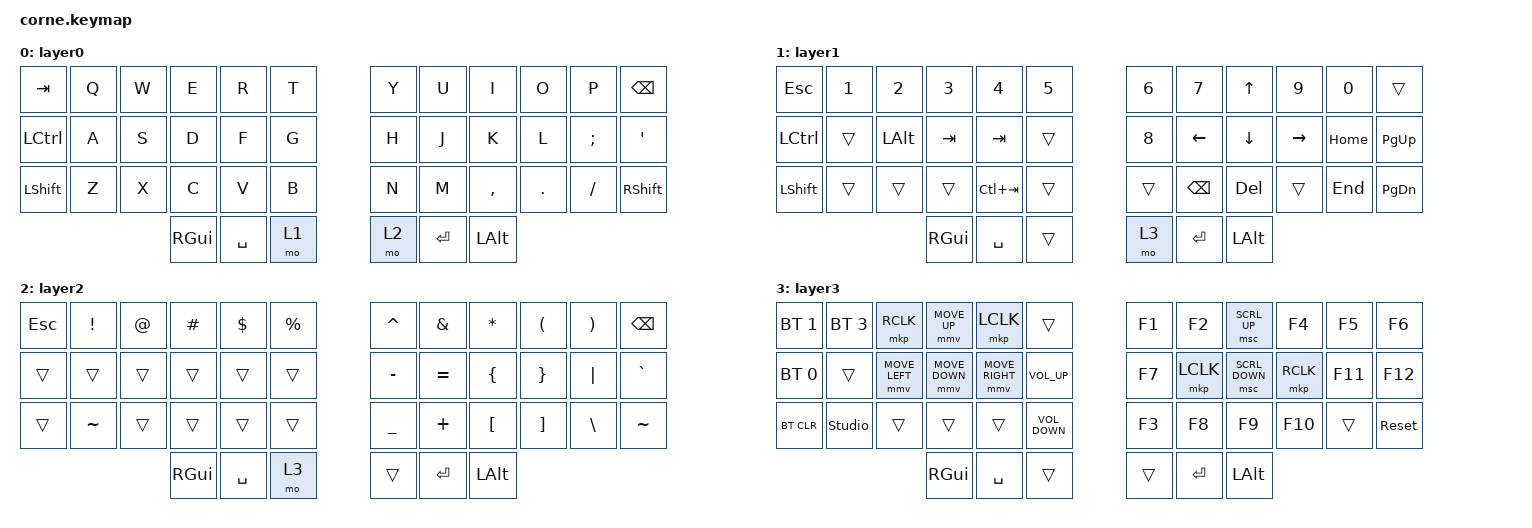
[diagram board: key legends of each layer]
/*
 * Copyright (c) 2020 The ZMK Contributors
 *
 * SPDX-License-Identifier: MIT
 */

#include <behaviors.dtsi>
#include <dt-bindings/zmk/keys.h>
#include <dt-bindings/zmk/bt.h>
#include <dt-bindings/zmk/ext_power.h>

#define ZMK_POINTING_DEFAULT_MOVE_VAL 1200
#define ZMK_POINTING_DEFAULT_SCRL_VAL 20
#include <dt-bindings/zmk/mouse.h>

/ {
    keymap {
        compatible = "zmk,keymap";

        layer0 {
// -----------------------------------------------------------------------------------------
// |  TAB  |  Q  |  W  |  E  |  R  |  T  |     |  Y  |  U  |  I  |  O  |  P  | BKSP | 
// | CTRL  |  A  |  S  |  D  |  F  |  G  |     |  H  |  J  |  K  |  L  |  ;  |  '   | 
// | SHFT  |  Z  |  X  |  C  |  V  |  B  |     |  N  |  M  |  ,  |  .  |  /  | SHFT | 
//                    | RGUI | SPC | MO1 |     | MO2 | ENT | LALT|
            bindings = <
                &kp TAB &kp Q &kp W &kp E &kp R &kp T &kp Y &kp U &kp I &kp O &kp P &kp BACKSPACE
                &kp LEFT_CONTROL &kp A &kp S &kp D &kp F &kp G &kp H &kp J &kp K &kp L &kp SEMICOLON &kp SINGLE_QUOTE
                &kp LEFT_SHIFT &kp Z &kp X &kp C &kp V &kp B &kp N &kp M &kp COMMA &kp DOT &kp SLASH &kp RIGHT_SHIFT
                &kp RIGHT_GUI &kp SPACE &mo 1 &mo 2 &kp ENTER &kp LEFT_ALT
            >;
        };

        layer1 {
// -----------------------------------------------------------------------------------------
// |  ESC |  1  |  2  |  3  |  4  |  5  |     |  6  |  7  |  UP |  9  |  0  |      | 
// | CTRL |     | ALT | TAB | TAB |     |     |  8  | LFT | DWN | RGT | HOME| PGUP | 
// | SHFT |     |     |     |LC(T)|     |     | BSP | DEL |     | END | PGDN|      | 
//                    | RGUI | SPC|     |     | MO3 | ENT | LALT|
            bindings = <
                &kp ESCAPE &kp N1 &kp N2 &kp N3 &kp N4 &kp N5 &kp N6 &kp N7 &kp UP &kp N9 &kp N0 &trans
                &kp LEFT_CONTROL &trans &kp LEFT_ALT &kp TAB &kp TAB &trans &kp N8 &kp LEFT &kp DOWN &kp RIGHT &kp HOME &kp PAGE_UP
                &kp LEFT_SHIFT &trans &trans &trans &kp LC(TAB) &trans &trans &kp BACKSPACE &kp DELETE &trans &kp END &kp PAGE_DOWN
                &kp RIGHT_GUI &kp SPACE &trans &mo 3 &kp ENTER &kp LEFT_ALT
            >;
        };

        layer2 {
// -----------------------------------------------------------------------------------------
// | ESC  |  !  |  @  |  #  |  $  |  %  |     |  ^  |  &  |  *  |  (  |  )  | BKSP | 
// |      |     |     |     |     |     |     |  -  |  =  | {   | }   | "|" | GRAVE| 
// |      | TILD|     |     |     |     |     | _   | +   | [   | ]   | \   |      | 
//                    | RGUI| SPC | MO3 |     |     | ENT | LALT |
        bindings = <
                &kp ESCAPE &kp EXCL &kp AT &kp HASH &kp DLLR &kp PRCNT &kp CARET &kp AMPS &kp ASTRK &kp LPAR &kp RPAR &kp BACKSPACE
                &trans &trans &trans &trans &trans &trans &kp MINUS &kp EQUAL &kp LBRC &kp RBRC &kp PIPE &kp GRAVE
                &trans &kp TILDE &trans &trans &trans &trans &kp UNDER &kp PLUS &kp LBKT &kp RBKT &kp BSLH &kp TILDE
                &kp RIGHT_GUI &kp SPACE &mo 3 &trans &kp ENTER &kp LEFT_ALT
                >;
        };

        layer3 {
// -----------------------------------------------------------------------------------------
// | BT1  |   BT3  | RCLK| MS_U| LCLK|         |     |  F1 |  F2 | WH_U|  F4 |  F5 |  F6  |
// | BT2  |        | MS_L| MS_D| MS_R| VOL_UP  |     |  F7 | LCLK| WH_D| RCLK|  F11|  F12 |
// | BTCLR|        |     |     |     | VOL_DOWN|     |  F3 | F8  | F9  | F10 |     |  RESET
//                          | RGUI | SPC |     |     |     | ENT | LALT |
        bindings = <
                &bt BT_SEL 1 &bt BT_SEL 3 &mkp RCLK &mmv MOVE_UP &mkp LCLK &trans &kp F1 &kp F2 &msc SCRL_UP &kp F4 &kp F5 &kp F6
                &bt BT_SEL 0 &trans &mmv MOVE_LEFT &mmv MOVE_DOWN &mmv MOVE_RIGHT &kp C_VOLUME_UP &kp F7 &mkp LCLK &msc SCRL_DOWN &mkp RCLK &kp F11 &kp F12
                &bt BT_CLR &studio_unlock &trans &trans &trans &kp C_VOLUME_DOWN &kp F3 &kp F8 &kp F9 &kp F10 &trans &sys_reset
                &kp RIGHT_GUI &kp SPACE &trans &trans &kp ENTER &kp LEFT_ALT
                >;
        };
    };
};
